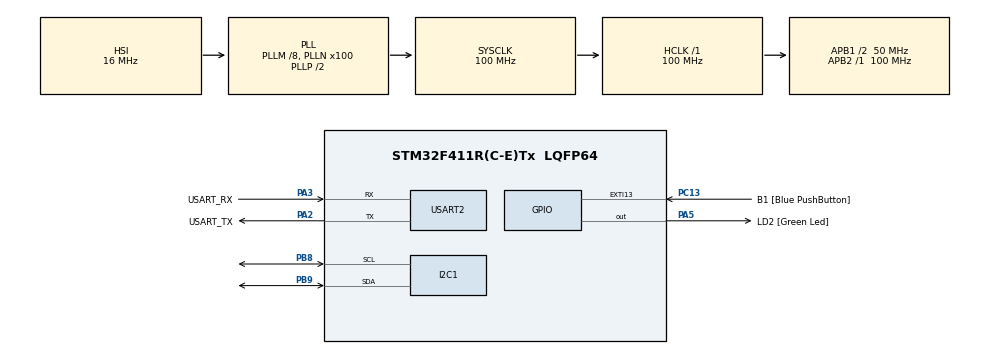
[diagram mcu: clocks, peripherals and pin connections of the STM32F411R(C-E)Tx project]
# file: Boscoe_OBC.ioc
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I2C1.I2C_Mode=I2C_Fast
Mcu.Family=STM32F4
Mcu.Name=STM32F411R(C-E)Tx
Mcu.Package=LQFP64
NVIC.PriorityGroup=NVIC_PRIORITYGROUP_0
PA13.GPIO_Label=TMS
PA13.Mode=Serial_Wire
PA13.Signal=SYS_JTMS-SWDIO
PA14.GPIO_Label=TCK
PA14.Mode=Serial_Wire
PA14.Signal=SYS_JTCK-SWCLK
PA2.GPIO_Label=USART_TX
PA2.Mode=Asynchronous
PA2.Signal=USART2_TX
PA3.GPIO_Label=USART_RX
PA3.Mode=Asynchronous
PA3.Signal=USART2_RX
PA5.GPIO_Label=LD2 [Green Led]
PA5.Signal=GPIO_Output
PB3.GPIO_Label=SWO
PB3.Signal=SYS_JTDO-SWO
PB8.GPIO_Pu=GPIO_PULLUP
PB8.Mode=I2C
PB8.Signal=I2C1_SCL
PB9.GPIO_Pu=GPIO_PULLUP
PB9.Mode=I2C
PB9.Signal=I2C1_SDA
PC13-ANTI_TAMP.GPIO_Label=B1 [Blue PushButton]
PC13-ANTI_TAMP.GPIO_ModeDefaultEXTI=GPIO_MODE_IT_FALLING
PC13-ANTI_TAMP.Signal=GPXTI13
PC14-OSC32_IN.Mode=LSE-External-Oscillator
PC14-OSC32_IN.Signal=RCC_OSC32_IN
PC15-OSC32_OUT.Mode=LSE-External-Oscillator
PC15-OSC32_OUT.Signal=RCC_OSC32_OUT
PH0\ -\ OSC_IN.Mode=HSE-External-Clock-Source
PH0\ -\ OSC_IN.Signal=RCC_OSC_IN
PH1\ -\ OSC_OUT.Mode=HSE-External-Clock-Source
PH1\ -\ OSC_OUT.Signal=RCC_OSC_OUT
ProjectManager.HeapSize=0x200
ProjectManager.StackSize=0x400
ProjectManager.TargetToolchain=CMake
RCC.48MHZClocksFreq_Value=50000000
RCC.AHBFreq_Value=100000000
RCC.APB1CLKDivider=RCC_HCLK_DIV2
RCC.APB1Freq_Value=50000000
RCC.APB1TimFreq_Value=100000000
RCC.APB2Freq_Value=100000000
RCC.APB2TimFreq_Value=100000000
RCC.CortexFreq_Value=100000000
RCC.FLatency-AdvancedSettings=FLASH_LATENCY_3
RCC.HCLKFreq_Value=100000000
RCC.HSE_VALUE=8000000
RCC.HSI_VALUE=16000000
RCC.PLLM=8
RCC.PLLN=100
RCC.SYSCLKFreq_VALUE=100000000
RCC.SYSCLKSource=RCC_SYSCLKSOURCE_PLLCLK
RCC.VCOOutputFreq_Value=200000000
USART2.VirtualMode=VM_ASYNC
board=NUCLEO-F411RE

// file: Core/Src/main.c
/* USER CODE BEGIN Header */
/**
  ******************************************************************************
  * @file : main.c
  * @brief : Boscoe OBC Main Program Body
  ******************************************************************************
  * @attention
  *
  * Copyright (c) 2025 Matt DeShon.
  * All rights reserved.
  *
  * This software is licensed under terms that can be found in the LICENSE file
  * in the root directory of this software component.
  * If no LICENSE file comes with this software, it is provided AS-IS.
  *
  ******************************************************************************
  */
/* USER CODE END Header */
#include "main.h"
#include "i2c.h"
#include "usart.h"
#include "gpio.h"
/* USER CODE BEGIN Includes */
#include <stdio.h>
#include <string.h>
#include <math.h>      // for altitude calculation

/* YOUR drivers */
#include "bmp390.h"
#include "mpu9250.h"
/* USER CODE END Includes */
/* USER CODE BEGIN PV */
/* Global sensor objects */
bmp390_t     bmp;
mpu9250_t    mpu;

uint32_t last_telemetry = 0;
/* USER CODE END PV */
void SystemClock_Config(void);
/* USER CODE BEGIN 0 */
/* Retarget printf to the virtual COM port */
int __io_putchar(int ch)
{
    HAL_UART_Transmit(&huart2, (uint8_t *)&ch, 1, HAL_MAX_DELAY);
    return ch;
}
/* USER CODE END 0 */
int main(void)
{
  /* MCU Configuration--------------------------------------------------------*/
  /* Reset of all peripherals, Initializes the Flash interface and the Systick. */
HAL_Init();
  /* Configure the system clock */
SystemClock_Config();
  /* Initialize all configured peripherals */
MX_GPIO_Init();
MX_I2C1_Init();
MX_USART2_UART_Init();
  /* USER CODE BEGIN 2 */
  printf("\r\n\r\n=== CubeSat OBC Lab 1 – YOUR OWN DRIVERS ===\r\n");
  printf("SystemCoreClock = %lu Hz\r\n", SystemCoreClock);

  /* ---------- Initialise YOUR BMP390 driver ---------- */
  if (bmp390_init(&bmp, &hi2c1) == 0)
      printf("YOUR BMP390 driver: INITIALIZED OK\r\n");
  else
      printf("YOUR BMP390 driver: FAILED!\r\n");

  /* ---------- Initialise YOUR MPU-9250 driver ---------- */
  if (mpu9250_init(&mpu, &hi2c1) == 0)
      printf("YOUR MPU-9250 driver: INITIALIZED OK (9-DoF)\r\n");
  else
      printf("YOUR MPU-9250 driver: FAILED!\r\n");

  HAL_GPIO_WritePin(GPIOA, GPIO_PIN_5, GPIO_PIN_SET);  // LED on at boot
  /* USER CODE END 2 */
  /* Infinite loop */
  /* USER CODE BEGIN WHILE */
while (1)
  {
      if (HAL_GetTick() - last_telemetry >= 2000)  // Every 2 seconds
      {
          HAL_GPIO_TogglePin(GPIOA, GPIO_PIN_5);   // Heartbeat

          /* ---- Read from YOUR BMP390 driver ---- */
          float temperature, pressure;
          if (bmp390_read_temp_pressure(&bmp, &temperature, &pressure) == 0)
          {
              /* Simple sea-level pressure to altitude (you can refine this later) */
              float altitude = 44330.0f * (1.0f - powf(pressure / 101325.0f, 0.190294957f));  // Fixed sea-level pressure in Pa (1013.25 hPa = 101325 Pa)

              printf("\r\n--- Telemetry (Your Drivers) ---\r\n");
              printf("BMP390 │ Temp: %.2f °C │ Press: %.2f hPa │ Alt: %.1f m\r\n",
                     temperature, pressure / 100.0f, altitude);
          }

          /* ---- Read from YOUR MPU-9250 driver ---- */
          mpu9250_read_all(&mpu);

          printf("MPU9250 Accel │ X: %.3f  Y: %.3f  Z: %.3f m/s²\r\n",
                 mpu.accel[0], mpu.accel[1], mpu.accel[2]);
          printf("MPU9250 Gyro  │ X: %.2f  Y: %.2f  Z: %.2f °/s\r\n",
                 mpu.gyro[0],  mpu.gyro[1],  mpu.gyro[2]);
          printf("MPU9250 Mag   │ X: %.0f  Y: %.0f  Z: %.0f µT\r\n",
                 mpu.mag[0],   mpu.mag[1],   mpu.mag[2]);

          last_telemetry = HAL_GetTick();
      }

      __WFI();   // Sleep until next tick – saves power
    /* USER CODE END WHILE */
  }
}
void SystemClock_Config(void)
{
  RCC_OscInitTypeDef RCC_OscInitStruct = {0};
  RCC_ClkInitTypeDef RCC_ClkInitStruct = {0};
  /** Configure the main internal regulator output voltage
  */
__HAL_RCC_PWR_CLK_ENABLE();
__HAL_PWR_VOLTAGESCALING_CONFIG(PWR_REGULATOR_VOLTAGE_SCALE1);
  /** Initializes the RCC Oscillators according to the specified parameters
  * in the RCC_OscInitTypeDef structure.
  */
RCC_OscInitStruct.OscillatorType = RCC_OSCILLATORTYPE_HSI;
RCC_OscInitStruct.HSIState = RCC_HSI_ON;
RCC_OscInitStruct.HSICalibrationValue = RCC_HSICALIBRATION_DEFAULT;
RCC_OscInitStruct.PLL.PLLState = RCC_PLL_ON;
RCC_OscInitStruct.PLL.PLLSource = RCC_PLLSOURCE_HSI;
RCC_OscInitStruct.PLL.PLLM = 8;
RCC_OscInitStruct.PLL.PLLN = 100;
RCC_OscInitStruct.PLL.PLLP = RCC_PLLP_DIV2;
RCC_OscInitStruct.PLL.PLLQ = 4;
if (HAL_RCC_OscConfig(&RCC_OscInitStruct) != HAL_OK)
  {
Error_Handler();
  }
  /** Initializes the CPU, AHB and APB buses clocks
  */
RCC_ClkInitStruct.ClockType = RCC_CLOCKTYPE_HCLK|RCC_CLOCKTYPE_SYSCLK
|RCC_CLOCKTYPE_PCLK1|RCC_CLOCKTYPE_PCLK2;
RCC_ClkInitStruct.SYSCLKSource = RCC_SYSCLKSOURCE_PLLCLK;
RCC_ClkInitStruct.AHBCLKDivider = RCC_SYSCLK_DIV1;
RCC_ClkInitStruct.APB1CLKDivider = RCC_HCLK_DIV2;
RCC_ClkInitStruct.APB2CLKDivider = RCC_HCLK_DIV1;
if (HAL_RCC_ClockConfig(&RCC_ClkInitStruct, FLASH_LATENCY_3) != HAL_OK)
  {
Error_Handler();
  }
}
void Error_Handler(void)
{
__disable_irq();
while (1)
  {
  }
}
